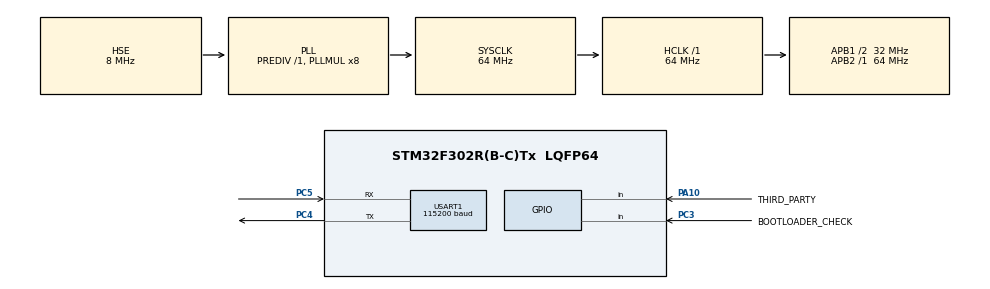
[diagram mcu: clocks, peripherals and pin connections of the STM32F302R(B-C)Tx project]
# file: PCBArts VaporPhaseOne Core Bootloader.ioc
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Dma.Request0=USART1_RX
Dma.Request1=USART1_TX
Dma.USART1_RX.0.Direction=DMA_PERIPH_TO_MEMORY
Dma.USART1_RX.0.Instance=DMA1_Channel5
Dma.USART1_RX.0.MemDataAlignment=DMA_MDATAALIGN_BYTE
Dma.USART1_RX.0.MemInc=DMA_MINC_ENABLE
Dma.USART1_RX.0.Mode=DMA_CIRCULAR
Dma.USART1_RX.0.PeriphDataAlignment=DMA_PDATAALIGN_BYTE
Dma.USART1_RX.0.PeriphInc=DMA_PINC_DISABLE
Dma.USART1_RX.0.Priority=DMA_PRIORITY_HIGH
Dma.USART1_TX.1.Direction=DMA_MEMORY_TO_PERIPH
Dma.USART1_TX.1.Instance=DMA1_Channel4
Dma.USART1_TX.1.MemDataAlignment=DMA_MDATAALIGN_BYTE
Dma.USART1_TX.1.MemInc=DMA_MINC_ENABLE
Dma.USART1_TX.1.Mode=DMA_NORMAL
Dma.USART1_TX.1.PeriphDataAlignment=DMA_PDATAALIGN_BYTE
Dma.USART1_TX.1.PeriphInc=DMA_PINC_DISABLE
Dma.USART1_TX.1.Priority=DMA_PRIORITY_LOW
Mcu.Family=STM32F3
Mcu.Name=STM32F302R(B-C)Tx
Mcu.Package=LQFP64
NVIC.DMA1_Channel4_IRQn=true\:0\:0\:false\:false\:true\:false\:true
NVIC.DMA1_Channel5_IRQn=true\:0\:0\:false\:false\:true\:false\:true
NVIC.PriorityGroup=NVIC_PRIORITYGROUP_4
NVIC.USART1_IRQn=true\:0\:0\:false\:false\:true\:true\:true
PA10.GPIO_Label=THIRD_PARTY
PA10.GPIO_PuPd=GPIO_NOPULL
PA10.Signal=GPIO_Input
PC3.GPIO_Label=BOOTLOADER_CHECK
PC3.GPIO_PuPd=GPIO_NOPULL
PC3.Signal=GPIO_Input
PC4.GPIO_PuPd=GPIO_PULLUP
PC4.Mode=Asynchronous
PC4.Signal=USART1_TX
PC5.GPIO_PuPd=GPIO_PULLUP
PC5.Mode=Asynchronous
PC5.Signal=USART1_RX
PF0-OSC_IN.Mode=HSE-External-Oscillator
PF0-OSC_IN.Signal=RCC_OSC_IN
PF1-OSC_OUT.Mode=HSE-External-Oscillator
PF1-OSC_OUT.Signal=RCC_OSC_OUT
ProjectManager.HeapSize=0x200
ProjectManager.StackSize=0x400
ProjectManager.TargetToolchain=STM32CubeIDE
RCC.AHBFreq_Value=64000000
RCC.APB1CLKDivider=RCC_HCLK_DIV2
RCC.APB1Freq_Value=32000000
RCC.APB1TimFreq_Value=64000000
RCC.APB2Freq_Value=64000000
RCC.APB2TimFreq_Value=64000000
RCC.CortexFreq_Value=64000000
RCC.HCLKFreq_Value=64000000
RCC.HSE_VALUE=8000000
RCC.HSI_VALUE=8000000
RCC.LSE_VALUE=32768
RCC.PLLMUL=RCC_PLL_MUL8
RCC.PLLSourceVirtual=RCC_PLLSOURCE_HSE
RCC.SYSCLKFreq_VALUE=64000000
RCC.SYSCLKSourceVirtual=RCC_SYSCLKSOURCE_PLLCLK
RCC.USBFreq_Value=64000000
USART1.BaudRate=115200
USART1.VirtualMode-Asynchronous=VM_ASYNC
board=custom

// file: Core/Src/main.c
/* USER CODE BEGIN Header */
/**
  ******************************************************************************
  * @file           : main.c
  * @brief          : Main program body
  ******************************************************************************
  * @attention
  *
  * <h2><center>&copy; Copyright (c) 2021 STMicroelectronics.
  * All rights reserved.</center></h2>
  *
  * This software component is licensed by ST under BSD 3-Clause license,
  * the "License"; You may not use this file except in compliance with the
  * License. You may obtain a copy of the License at:
  *                        opensource.org/licenses/BSD-3-Clause
  *
  ******************************************************************************
  */
/* USER CODE END Header */
#include "main.h"

/* USER CODE BEGIN Includes */
#include "global.h"
#include "packet_handler.h"
#include "conf.h"
#include "bootloader_definitions.h"

/* USER CODE END Includes */

UART_HandleTypeDef huart1;
DMA_HandleTypeDef hdma_usart1_rx;
DMA_HandleTypeDef hdma_usart1_tx;

void SystemClock_Config(void);
static void MX_GPIO_Init(void);
static void MX_DMA_Init(void);
static void MX_USART1_UART_Init(void);

int main(void)
{

  /* MCU Configuration--------------------------------------------------------*/

  /* Reset of all peripherals, Initializes the Flash interface and the Systick. */
  HAL_Init();

  /* Configure the system clock */
  SystemClock_Config();

  /* Initialize all configured peripherals */
  MX_GPIO_Init();
  MX_DMA_Init();
  MX_USART1_UART_Init();
  /* USER CODE BEGIN 2 */

  bool bootloader_button = HAL_GPIO_ReadPin(BOOTLOADER_CHECK_GPIO_Port, BOOTLOADER_CHECK_Pin) == GPIO_PIN_RESET;

  if (!bootloader_button) {
	  jump_to_user_fw();
	  /* If jump_to_user_fw returns, there was a boot error (bad image) */
  }

  Packet_Init(&huart1);

  if (bootloader_button)
	usart_send_log_msg(P_INFO, "Entering bootloader since bootloader button is pressed");
  else
	usart_send_log_msg(P_INFO, "Cannot boot user firmware: interrupt vector is corrupt");
  usart_send_log_msg(P_INFO, "Core bootloader entered");

  /* USER CODE END 2 */

  /* Infinite loop */
  while (1)
  {

    /* USER CODE BEGIN 3 */

    Packet_Worker();
		HAL_Delay(1);
  }
  /* USER CODE END 3 */
}

void SystemClock_Config(void)
{
  RCC_OscInitTypeDef RCC_OscInitStruct = {0};
  RCC_ClkInitTypeDef RCC_ClkInitStruct = {0};
  RCC_PeriphCLKInitTypeDef PeriphClkInit = {0};

  /** Initializes the RCC Oscillators according to the specified parameters
  * in the RCC_OscInitTypeDef structure.
  */
  RCC_OscInitStruct.OscillatorType = RCC_OSCILLATORTYPE_HSE;
  RCC_OscInitStruct.HSEState = RCC_HSE_ON;
  RCC_OscInitStruct.HSEPredivValue = RCC_HSE_PREDIV_DIV1;
  RCC_OscInitStruct.HSIState = RCC_HSI_ON;
  RCC_OscInitStruct.PLL.PLLState = RCC_PLL_ON;
  RCC_OscInitStruct.PLL.PLLSource = RCC_PLLSOURCE_HSE;
  RCC_OscInitStruct.PLL.PLLMUL = RCC_PLL_MUL8;
  if (HAL_RCC_OscConfig(&RCC_OscInitStruct) != HAL_OK)
  {
    Error_Handler();
  }
  /** Initializes the CPU, AHB and APB buses clocks
  */
  RCC_ClkInitStruct.ClockType = RCC_CLOCKTYPE_HCLK|RCC_CLOCKTYPE_SYSCLK
                              |RCC_CLOCKTYPE_PCLK1|RCC_CLOCKTYPE_PCLK2;
  RCC_ClkInitStruct.SYSCLKSource = RCC_SYSCLKSOURCE_PLLCLK;
  RCC_ClkInitStruct.AHBCLKDivider = RCC_SYSCLK_DIV1;
  RCC_ClkInitStruct.APB1CLKDivider = RCC_HCLK_DIV2;
  RCC_ClkInitStruct.APB2CLKDivider = RCC_HCLK_DIV1;

  if (HAL_RCC_ClockConfig(&RCC_ClkInitStruct, FLASH_LATENCY_2) != HAL_OK)
  {
    Error_Handler();
  }
  PeriphClkInit.PeriphClockSelection = RCC_PERIPHCLK_USART1;
  PeriphClkInit.Usart1ClockSelection = RCC_USART1CLKSOURCE_PCLK2;
  if (HAL_RCCEx_PeriphCLKConfig(&PeriphClkInit) != HAL_OK)
  {
    Error_Handler();
  }
}

static void MX_USART1_UART_Init(void)
{

  huart1.Instance = USART1;
  huart1.Init.BaudRate = 115200;
  huart1.Init.WordLength = UART_WORDLENGTH_8B;
  huart1.Init.StopBits = UART_STOPBITS_1;
  huart1.Init.Parity = UART_PARITY_NONE;
  huart1.Init.Mode = UART_MODE_TX_RX;
  huart1.Init.HwFlowCtl = UART_HWCONTROL_NONE;
  huart1.Init.OverSampling = UART_OVERSAMPLING_16;
  huart1.Init.OneBitSampling = UART_ONE_BIT_SAMPLE_DISABLE;
  huart1.AdvancedInit.AdvFeatureInit = UART_ADVFEATURE_NO_INIT;
  if (HAL_UART_Init(&huart1) != HAL_OK)
  {
    Error_Handler();
  }

}

static void MX_DMA_Init(void)
{

  /* DMA controller clock enable */
  __HAL_RCC_DMA1_CLK_ENABLE();

  /* DMA interrupt init */
  /* DMA1_Channel4_IRQn interrupt configuration */
  HAL_NVIC_SetPriority(DMA1_Channel4_IRQn, 0, 0);
  HAL_NVIC_EnableIRQ(DMA1_Channel4_IRQn);
  /* DMA1_Channel5_IRQn interrupt configuration */
  HAL_NVIC_SetPriority(DMA1_Channel5_IRQn, 0, 0);
  HAL_NVIC_EnableIRQ(DMA1_Channel5_IRQn);

}

static void MX_GPIO_Init(void)
{
  GPIO_InitTypeDef GPIO_InitStruct = {0};

  /* GPIO Ports Clock Enable */
  __HAL_RCC_GPIOF_CLK_ENABLE();
  __HAL_RCC_GPIOC_CLK_ENABLE();
  __HAL_RCC_GPIOA_CLK_ENABLE();

  /*Configure GPIO pin : BOOTLOADER_CHECK_Pin */
  GPIO_InitStruct.Pin = BOOTLOADER_CHECK_Pin;
  GPIO_InitStruct.Mode = GPIO_MODE_INPUT;
  GPIO_InitStruct.Pull = GPIO_NOPULL;
  HAL_GPIO_Init(BOOTLOADER_CHECK_GPIO_Port, &GPIO_InitStruct);

  /*Configure GPIO pin : THIRD_PARTY_Pin */
  GPIO_InitStruct.Pin = THIRD_PARTY_Pin;
  GPIO_InitStruct.Mode = GPIO_MODE_INPUT;
  GPIO_InitStruct.Pull = GPIO_NOPULL;
  HAL_GPIO_Init(THIRD_PARTY_GPIO_Port, &GPIO_InitStruct);

}

void Error_Handler(void)
{
  /* USER CODE BEGIN Error_Handler_Debug */
#ifdef DEBUG
  /* User can add his own implementation to report the HAL error return state */
  __disable_irq();
  while (1)
  {
  }
#else
	/* We cannot use the USART yet so we just wait a bit, then reset and hope for the best. */
	for (int i=0; i<1000000; i++)
		asm volatile ("nop");
	NVIC_SystemReset();
#endif
  /* USER CODE END Error_Handler_Debug */
}

/************************ (C) COPYRIGHT STMicroelectronics *****END OF FILE****/
